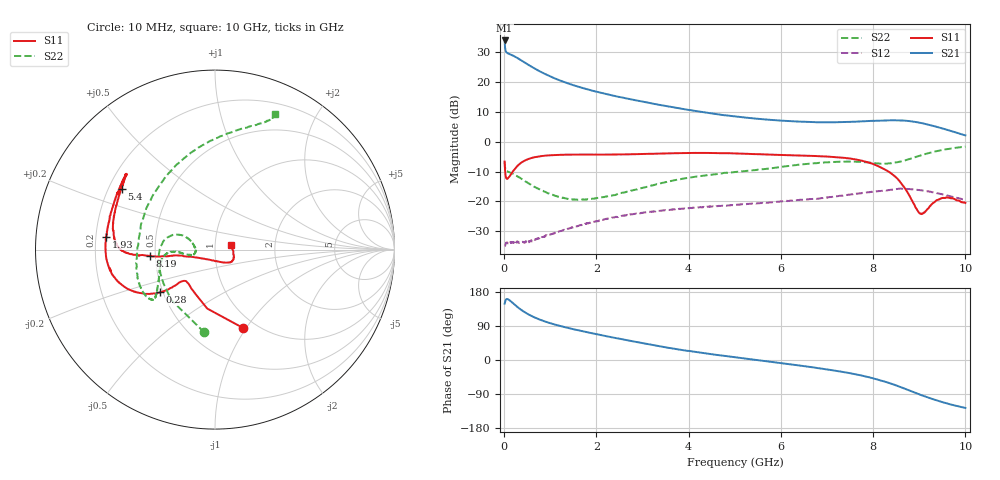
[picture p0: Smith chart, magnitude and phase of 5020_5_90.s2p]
# Hz S  dB  R 50
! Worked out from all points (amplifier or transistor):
!   1000 points, 10 MHz to 10 GHz, reference 50 ohm
!   highest |S21| = 34.0 dB at 10 MHz (marker M1)
!   |S21| within 3 dB of that: start of sweep to 26.41 MHz
!   unconditionally stable (mu >= 1): 55.3 MHz to end of sweep
!   at 1.67 GHz: K = 1.15, MAG = 20.8 dB, |S12| = -28.0 dB
!   at 5.01 GHz: K = 1.12, MAG = 12.8 dB, |S12| = -21.2 dB
!   at 10 GHz: K = 1.16, MAG = 8.4 dB, |S12| = -19.5 dB
!   S11 on the Smith chart (normalised r, x): 10 MHz: 0.87, -0.97; 280 MHz: 0.48, -0.27; 1.93 GHz: 0.24, +0.06; 5.4 GHz: 0.25, +0.28; 8.19 GHz: 0.47, -0.04; 10 GHz: 1.20, +0.06
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1e7  -6.64 -70.1  34.00 148.6  -35.02 39.0  -6.64 -97.3
7e7  -12.45 -132.6  29.78 160.9  -33.79 8.8  -9.93 -170.2
8e7  -12.28 -134.3  29.68 160.5  -34.09 5.5  -10.05 -172.8
1.1e8  -11.81 -136.4  29.48 158.3  -33.66 6.5  -10.18 -179.1
2.1e8  -9.50 -139.4  28.77 148.0  -33.71 9.6  -10.90 168.9
2.8e8  -8.23 -142.2  28.18 140.6  -33.80 8.7  -11.54 164.3
3.9e8  -6.82 -147.2  27.14 130.5  -33.69 16.4  -12.58 159.1
5.2e8  -5.83 -153.1  25.89 120.9  -33.47 22.1  -13.87 156.8
6.5e8  -5.22 -158.0  24.68 112.9  -32.93 27.2  -15.07 156.8
7.9e8  -4.84 -162.6  23.50 105.8  -32.12 31.4  -16.13 158.2
9.6e8  -4.56 -167.2  22.22 98.6  -31.34 35.2  -17.30 162.0
1.15e9  -4.42 -171.6  20.94 91.9  -30.36 37.4  -18.34 167.9
1.68e9  -4.29 178.0  18.15 76.4  -27.93 40.1  -19.37 -176.6
1.93e9  -4.29 173.2  17.09 69.9  -26.85 39.9  -19.05 -171.6
3.34e9  -3.98 147.1  12.47 36.8  -23.24 26.1  -14.15 -175.0
5.01e9  -3.90 142.4  8.51 7.2  -21.17 9.9  -10.13 -166.2
5.4e9  -4.13 146.8  7.86 1.2  -20.75 6.0  -9.55 -157.9
6.67e9  -4.71 168.1  6.62 -18.9  -19.16 -7.4  -7.29 -140.9
8.19e9  -8.77 -174.6  7.10 -54.8  -16.45 -37.4  -7.38 174.2
8.34e9  -10.04 -173.0  7.18 -60.3  -16.22 -41.4  -7.22 161.3
8.95e9  -22.73 -132.3  6.56 -88.1  -16.13 -67.5  -4.97 101.7
1e10  -20.50 16.3  2.15 -126.5  -19.48 -102.8  -1.64 66.1
